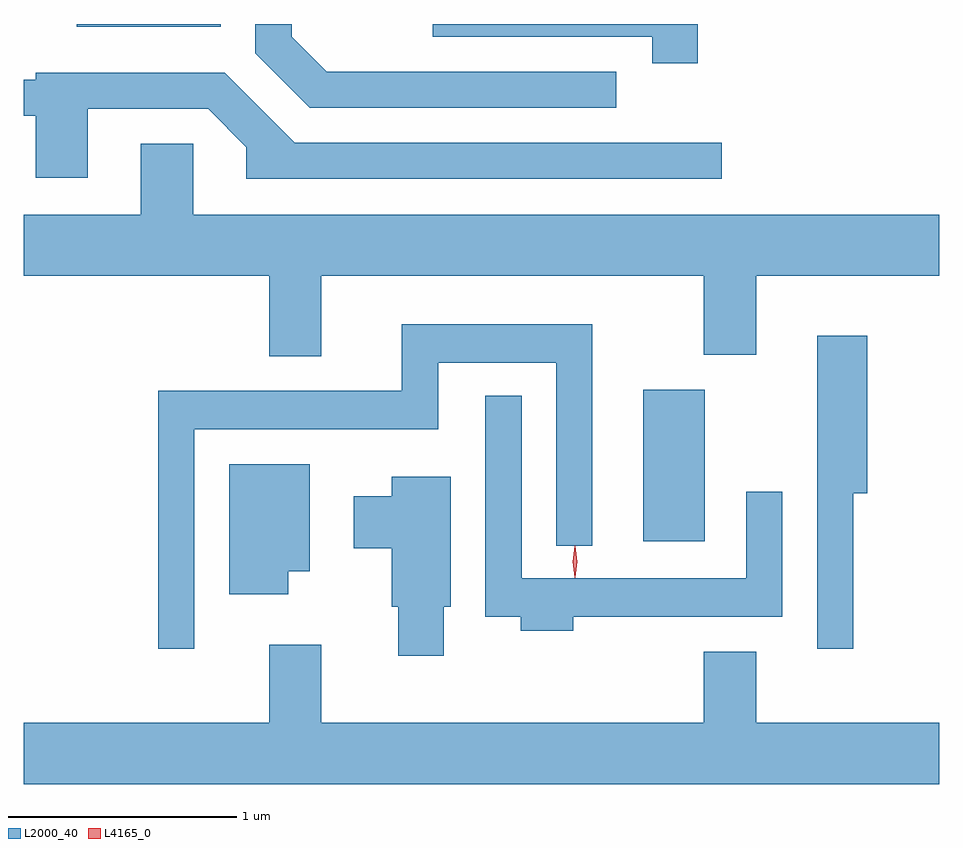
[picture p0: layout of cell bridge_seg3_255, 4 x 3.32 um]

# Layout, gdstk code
import gdstk
lib = gdstk.Library(unit=1e-6, precision=1e-09)
def R(c, l, rs):  # rectangles x0, y0, x1, y1
    for r in rs: c.add(gdstk.rectangle(r[:2], r[2:], *l))
def P(c, l, *ps):  # polygons
    for p in ps: c.add(gdstk.Polygon(p, *l))
L2000_40 = (2000, 40)
L4165_0 = (4165, 0)

bridge_seg3_255 = lib.new_cell('bridge_seg3_255')
R(bridge_seg3_255, L2000_40, [(1021.486,1127.076,1021.754,1127.739), (1019.011,1129.326,1019.639,1129.337)])
P(bridge_seg3_255, L2000_40, [(1021.368,1129.129),(1020.102,1129.129),(1019.949,1129.282),(1019.949,1129.337),(1019.791,1129.337),(1019.791,1129.209),(1020.029,1128.971),(1021.368,1128.971)],
  [(1021.724,1129.337),(1020.566,1129.337),(1020.566,1129.281),(1021.526,1129.281),(1021.526,1129.166),(1021.724,1129.166)],
  [(1021.828,1128.819),(1019.962,1128.819),(1019.657,1129.124),(1018.831,1129.124),(1018.831,1129.094),(1018.779,1129.094),(1018.779,1128.936),(1018.831,1128.936),(1018.831,1128.666),(1019.059,1128.666),(1019.059,1128.966),(1019.584,1128.966),(1019.751,1128.799),(1019.751,1128.661),(1021.828,1128.661)],
  [(1020.079,1128.236),(1021.751,1128.236),(1021.751,1127.891),(1021.979,1127.891),(1021.979,1128.236),(1022.779,1128.236),(1022.779,1128.504),(1019.519,1128.504),(1019.519,1128.814),(1019.291,1128.814),(1019.291,1128.504),(1018.779,1128.504),(1018.779,1128.236),(1019.851,1128.236),(1019.851,1127.886),(1020.079,1127.886)],
  [(1019.524,1127.566),(1020.589,1127.566),(1020.589,1127.856),(1021.106,1127.856),(1021.106,1127.058),(1021.264,1127.058),(1021.264,1128.024),(1020.431,1128.024),(1020.431,1127.734),(1019.366,1127.734),(1019.366,1126.608),(1019.524,1126.608)],
  [(1022.404,1127.286),(1022.464,1127.286),(1022.464,1127.974),(1022.246,1127.974),(1022.246,1126.608),(1022.404,1126.608)],
  [(1021.179,1126.746),(1022.094,1126.746),(1022.094,1127.293),(1021.936,1127.293),(1021.936,1126.914),(1020.954,1126.914),(1020.954,1127.713),(1020.796,1127.713),(1020.796,1126.746),(1020.951,1126.746),(1020.951,1126.686),(1021.179,1126.686)],
  [(1019.934,1126.946),(1020.029,1126.946),(1020.029,1127.414),(1019.676,1127.414),(1019.676,1126.846),(1019.934,1126.846)],
  [(1020.614,1126.791),(1020.644,1126.791),(1020.644,1127.359),(1020.386,1127.359),(1020.386,1127.274),(1020.221,1127.274),(1020.221,1127.046),(1020.386,1127.046),(1020.386,1126.791),(1020.416,1126.791),(1020.416,1126.576),(1020.614,1126.576)],
  [(1022.779,1126.284),(1021.979,1126.284),(1021.979,1126.594),(1021.751,1126.594),(1021.751,1126.284),(1020.079,1126.284),(1020.079,1126.624),(1019.851,1126.624),(1019.851,1126.284),(1018.779,1126.284),(1018.779,1126.016),(1022.779,1126.016)])
P(bridge_seg3_255, L4165_0, [(1021.187,1126.917),(1021.187,1126.918),(1021.177,1126.987),(1021.187,1127.056),(1021.187,1127.056),(1021.188,1127.056),(1021.197,1126.987),(1021.188,1126.918)])

lib.write_gds('bridge_seg3_255.gds')
